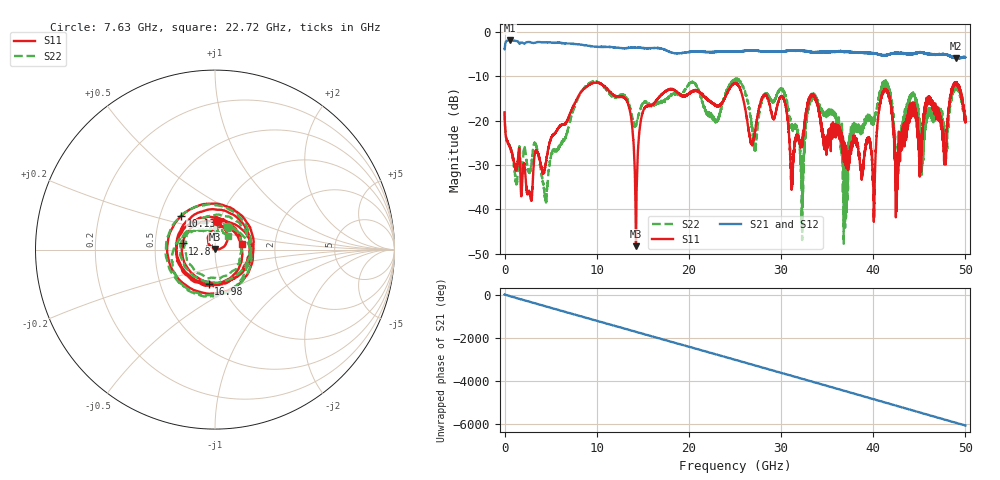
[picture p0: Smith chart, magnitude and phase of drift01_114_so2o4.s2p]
!Created with skrf (http://scikit-rf.org).
# Hz S RI R 50.0
!freq ReS11 ImS11 ReS21 ImS21 ReS12 ImS12 ReS22 ImS22
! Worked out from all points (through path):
!   10001 points, 300 kHz to 50 GHz, reference 50 ohm
!   highest |S21| = -2.00 dB at 570.3 MHz (marker M1); lowest = -6.1 dB at 48.98 GHz (marker M2)
!   group delay of S21, straight-line fit = 336 ps
!   lowest |S11| = -48.3 dB at 14.26 GHz (marker M3), VSWR 1.01, Z = 50 + j0.386 ohm
!   |S11| at or under -10 dB: start of sweep to end of sweep
!   |S22| runs from -47.7 to -10.5 dB; largest |S21 - S12| = 0.023
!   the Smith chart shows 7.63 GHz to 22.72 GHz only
!   S11 on the Smith chart (normalised r, x): 7.63 GHz: 0.97, +0.31; 10.13 GHz: 0.64, +0.26; 12.8 GHz: 0.69, +0.05; 16.98 GHz: 0.87, -0.35; 22.72 GHz: 1.35, +0.08
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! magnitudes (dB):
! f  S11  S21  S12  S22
! 300 kHz  -18.2  -4.0  -4.1  -17.9
! 570.3 MHz  -26.0  -2.0  -2.0  -26.0
! 4.445 GHz  -29.9  -2.4  -2.4  -37.8
! 7.63 GHz  -16.1  -2.8  -2.8  -16.7
! 8.335 GHz  -13.5  -2.9  -3.0  -13.5
! 10.13 GHz  -11.5  -3.4  -3.4  -11.4
! 12.8 GHz  -14.7  -3.7  -3.7  -14.3
! 14.26 GHz  -48.3  -3.6  -3.6  -21.1
! 16.67 GHz  -14.9  -3.7  -3.7  -15.8
! 16.98 GHz  -14.2  -3.8  -3.8  -15.6
! 22.72 GHz  -16.3  -4.6  -4.6  -19.5
! 25 GHz  -11.6  -4.5  -4.5  -11.0
! 27.15 GHz  -22.5  -4.3  -4.3  -25.9
! 30.2 GHz  -14.9  -4.5  -4.5  -13.3
! 32.28 GHz  -25.3  -4.3  -4.3  -44.2
! 33.34 GHz  -14.2  -4.6  -4.6  -14.6
! 37.01 GHz  -26.7  -4.5  -4.6  -33.0
! 40.06 GHz  -39.9  -4.9  -4.9  -20.0
! 41.67 GHz  -14.0  -5.1  -5.1  -12.8
! 42.56 GHz  -38.0  -4.8  -4.8  -29.8
! 48.98 GHz  -11.4  -6.1  -6.0  -12.7
! 50 GHz  -19.7  -5.8  -5.7  -19.7
